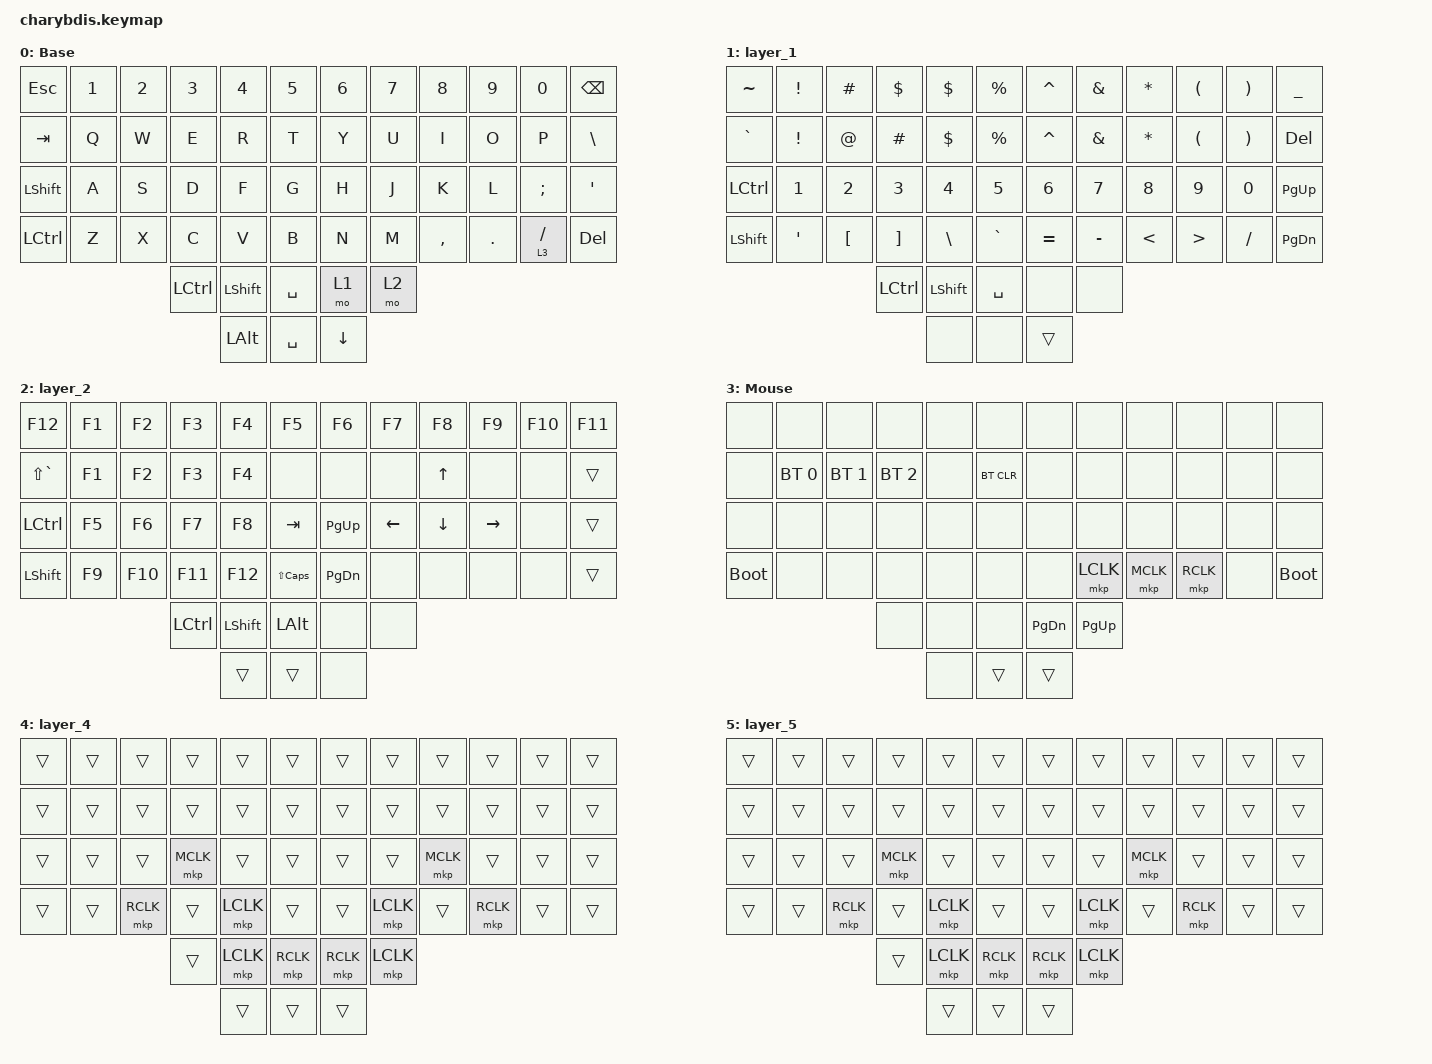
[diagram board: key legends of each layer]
#include <dt-bindings/zmk/mouse.h>
#include <behaviors.dtsi>
#include <dt-bindings/zmk/bt.h>
#include <dt-bindings/zmk/keys.h>

&lt {
    tapping-term-ms = <200>;
    flavor = "balanced";
    quick-tap-ms = <150>;
};

/ {
    combos {
        compatible = "zmk,combos";

        escc {
            bindings = <&kp ESC>;
            key-positions = <19 20>;
            layers = <0>;
        };

        windows {
            bindings = <&kp RIGHT_GUI>;
            key-positions = <45 44>;
        };

        left_tab {
            bindings = <&kp TAB>;
            key-positions = <13 14>;
        };

        R_RETURN {
            bindings = <&kp RETURN>;
            key-positions = <31 32>;
        };

        R_BACKSPACE {
            bindings = <&kp BACKSPACE>;
            key-positions = <43 44>;
        };

        R_ALT {
            bindings = <&kp RIGHT_ALT>;
            key-positions = <42 43>;
        };
    };

    keymap {
        compatible = "zmk,keymap";

        Base {
            bindings = <
&kp ESC         &kp N1  &kp N2  &kp N3     &kp N4          &kp N5       &kp N6          &kp N7  &kp N8     &kp N9   &kp N0       &kp BSPC
&kp TAB         &kp Q   &kp W   &kp E      &kp R           &kp T        &kp Y           &kp U   &kp I      &kp O    &kp P        &kp BACKSLASH
&kp LEFT_SHIFT  &kp A   &kp S   &kp D      &kp F           &kp G        &kp H           &kp J   &kp K      &kp L    &kp SEMI     &kp APOS
&kp LCTRL       &kp Z   &kp X   &kp C      &kp V           &kp B        &kp N           &kp M   &kp COMMA  &kp DOT  &lt 3 SLASH  &kp DELETE
                                &kp LCTRL  &kp LEFT_SHIFT  &kp SPACE    &mo 1           &mo 2
                                           &kp LEFT_ALT    &kp SPACE    &kp DOWN_ARROW
            >;

            trackball-bindings = <&tmv_coarse>;
        };

        layer_1 {
            bindings = <
&kp TILDE         &kp EXCLAMATION  &kp HASH  &kp DOLLAR  &kp DOLLAR      &kp PERCENT    &kp CARET  &kp AMPERSAND  &kp ASTERISK  &kp LEFT_PARENTHESIS  &kp RIGHT_PARENTHESIS  &kp UNDERSCORE
&kp GRAVE         &kp EXCL         &kp AT    &kp HASH    &kp DOLLAR      &kp PRCNT      &kp CARET  &kp AMPS       &kp ASTRK     &kp LPAR              &kp RPAR               &kp DEL
&kp LEFT_CONTROL  &kp N1           &kp N2    &kp N3      &kp N4          &kp N5         &kp N6     &kp N7         &kp N8        &kp N9                &kp N0                 &kp PAGE_UP
&kp LSHFT         &kp SQT          &kp LBKT  &kp RBKT    &kp BACKSLASH   &kp GRAVE      &kp EQUAL  &kp MINUS      &kp LT        &kp GT                &kp SLASH              &kp PAGE_DOWN
                                             &kp LCTRL   &kp LEFT_SHIFT  &kp SPACE      &none      &none
                                                         &none           &none          &trans
            >;
        };

        layer_2 {
            bindings = <
&kp F12           &kp F1  &kp F2   &kp F3     &kp F4          &kp F5          &kp F6         &kp F7          &kp F8          &kp F9           &kp F10  &kp F11
&kp LS(GRAVE)     &kp F1  &kp F2   &kp F3     &kp F4          &none           &none          &none           &kp UP_ARROW    &none            &none    &trans
&kp LEFT_CONTROL  &kp F5  &kp F6   &kp F7     &kp F8          &kp TAB         &kp PAGE_UP    &kp LEFT_ARROW  &kp DOWN_ARROW  &kp RIGHT_ARROW  &none    &trans
&kp LEFT_SHIFT    &kp F9  &kp F10  &kp F11    &kp F12         &kp LS(CAPS)    &kp PAGE_DOWN  &none           &none           &none            &none    &trans
                                   &kp LCTRL  &kp LEFT_SHIFT  &kp LEFT_ALT    &none          &none
                                              &trans          &trans          &none
            >;
        };

        Mouse {
            bindings = <
&none        &none         &none         &none         &none  &none         &none          &none        &none      &none      &none  &none
&none        &bt BT_SEL 0  &bt BT_SEL 1  &bt BT_SEL 2  &none  &bt BT_CLR    &none          &none        &none      &none      &none  &none
&none        &none         &none         &none         &none  &none         &none          &none        &none      &none      &none  &none
&bootloader  &none         &none         &none         &none  &none         &none          &mkp LCLK    &mkp MCLK  &mkp RCLK  &none  &bootloader
                                         &none         &none  &none         &kp PAGE_DOWN  &kp PAGE_UP
                                                       &none  &trans        &trans
            >;
        };

        layer_4 {
            bindings = <
&trans  &trans  &trans     &trans     &trans     &trans       &trans     &trans     &trans     &trans     &trans  &trans
&trans  &trans  &trans     &trans     &trans     &trans       &trans     &trans     &trans     &trans     &trans  &trans
&trans  &trans  &trans     &mkp MCLK  &trans     &trans       &trans     &trans     &mkp MCLK  &trans     &trans  &trans
&trans  &trans  &mkp RCLK  &trans     &mkp LCLK  &trans       &trans     &mkp LCLK  &trans     &mkp RCLK  &trans  &trans
                           &trans     &mkp LCLK  &mkp RCLK    &mkp RCLK  &mkp LCLK
                                      &trans     &trans       &trans
            >;

            trackball-bindings = <&tsl>;//滚轮层
        };

        layer_5 {
            bindings = <
&trans  &trans  &trans     &trans     &trans     &trans       &trans     &trans     &trans     &trans     &trans  &trans
&trans  &trans  &trans     &trans     &trans     &trans       &trans     &trans     &trans     &trans     &trans  &trans
&trans  &trans  &trans     &mkp MCLK  &trans     &trans       &trans     &trans     &mkp MCLK  &trans     &trans  &trans
&trans  &trans  &mkp RCLK  &trans     &mkp LCLK  &trans       &trans     &mkp LCLK  &trans     &mkp RCLK  &trans  &trans
                           &trans     &mkp LCLK  &mkp RCLK    &mkp RCLK  &mkp LCLK
                                      &trans     &trans       &trans
            >;

            trackball-bindings = <&tmv_fine>;//精准指针层
        };
    };
};
